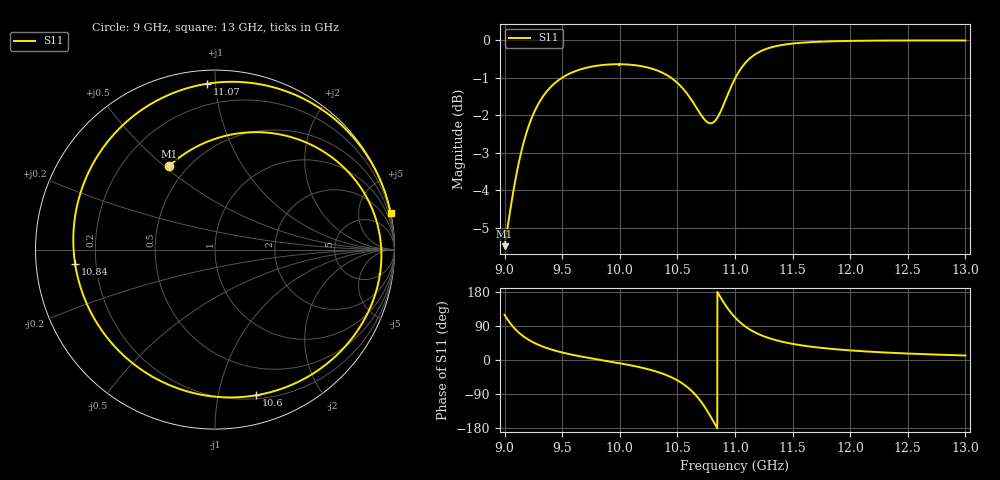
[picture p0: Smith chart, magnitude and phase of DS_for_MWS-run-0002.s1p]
! TOUCHSTONE file generated by CST DESIGN STUDIO
! Date and time: Tue Feb  4 14:07:42 2025
! Project name: C:\Work\MatlabApps\UnitCellOptimizationMatlab\CST\unitcell.cst
! Tree item: Tasks\Sweep1\SPara1\S-Parameters
! Header version: 2024
! Port assignment regex: !\s*Touchstone port\s*([0-9]+)\s*=\s*(CST MWS port|CST DES external port|CST DES block port)\s*(.+)\s* \(\"(.*)\"\)(\s*mode\s*([0-9]+))?.*
! Touchstone port assignment:
! Touchstone port 1 = CST DES external port 1 ("")
# GHz S MA R 50
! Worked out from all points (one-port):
!   4001 points, 9 GHz to 13 GHz, reference 50 ohm
!   lowest |S11| = -5.5 dB at 9 GHz (marker M1), VSWR 3.26, Z = 20 + j25.8 ohm
!   |S11| at or under -10 dB: nowhere
!   S11 on the Smith chart (normalised r, x): 9 GHz: 0.40, +0.52; 10.6 GHz: 0.23, -1.30; 10.84 GHz: 0.12, -0.05; 11.07 GHz: 0.07, +0.95; 13 GHz: 0.02, +9.60
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9  0.531 119.1
9.103  0.6627 78.1
9.235  0.7875 48.7
9.353  0.8497 33.0
9.5  0.8916 19.8
9.727  0.9204 5.7
10  0.9292 -8.6
10.302  0.9141 -29.2
10.41  0.8983 -40.6
10.5  0.8773 -53.7
10.597  0.8434 -74.2
10.665  0.813 -94.7
10.722  0.7885 -117.1
10.774  0.7754 -141.8
10.835  0.7833 -174.1
10.868  0.7991 168.5
10.903  0.8218 151.2
10.951  0.8564 130.2
11  0.889 112.4
11.07  0.9251 92.8
11.156  0.9534 75.7
11.251  0.9713 62.5
11.363  0.9828 51.7
11.5  0.9901 42.6
11.712  0.9953 33.3
12  0.9982 25.3
12.5  0.9995 17.1
13  0.9996 11.9
